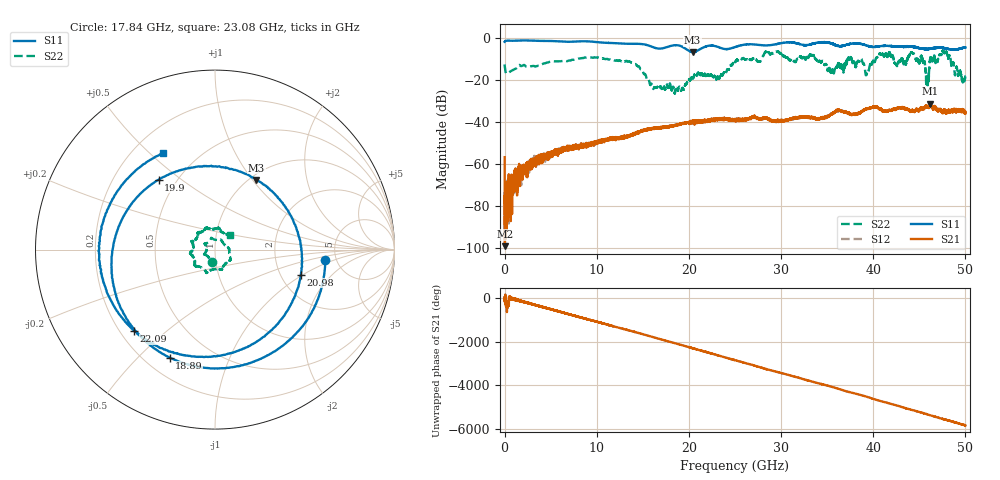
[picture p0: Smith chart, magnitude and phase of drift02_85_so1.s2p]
!Created with skrf (http://scikit-rf.org).
# Hz S RI R 50.0
!freq ReS11 ImS11 ReS21 ImS21 ReS12 ImS12 ReS22 ImS22
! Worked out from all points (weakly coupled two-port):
!   10001 points, 300 kHz to 50 GHz, reference 50 ohm
!   highest |S21| = -31.39 dB at 46.18 GHz (marker M1); lowest = -99.1 dB at 30.3 MHz (marker M2)
!   lowest |S11| = -6.9 dB at 20.4 GHz (marker M3), VSWR 2.65, Z = 53.5 + j52.2 ohm
!   |S11| at or under -10 dB: nowhere
!   |S22| runs from -26.6 to -6.1 dB; largest |S21 - S12| = 0.003
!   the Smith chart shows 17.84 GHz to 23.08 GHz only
!   S11 on the Smith chart (normalised r, x): 17.84 GHz: 4.07, -0.78; 18.89 GHz: 0.30, -0.62; 19.9 GHz: 0.40, +0.42; 20.98 GHz: 2.57, -0.96; 22.09 GHz: 0.26, -0.39; 23.08 GHz: 0.32, +0.55
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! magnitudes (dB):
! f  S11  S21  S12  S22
! 300 kHz  -2.1  -56.8  -73.5  -12.7
! 30.3 MHz  -1.8  -99.1  -76.2  -14.1
! 270.3 MHz  -1.4  -74.1  -81.5  -17.0
! 2.97 GHz  -1.4  -62.3  -58.5  -13.5
! 8.335 GHz  -1.7  -51.4  -52.4  -9.7
! 13.71 GHz  -2.9  -46.4  -46.1  -11.7
! 16.67 GHz  -5.2  -42.8  -42.9  -23.8
! 17.84 GHz  -4.2  -42.2  -42.3  -22.9
! 18.89 GHz  -3.7  -41.3  -41.4  -23.9
! 19.9 GHz  -6.0  -40.3  -40.3  -20.0
! 20.4 GHz  -6.9  -40.5  -39.6  -19.1
! 20.98 GHz  -6.1  -39.8  -40.1  -16.8
! 22.09 GHz  -3.9  -39.1  -39.2  -17.4
! 23.08 GHz  -4.3  -39.0  -38.6  -18.8
! 25 GHz  -4.5  -38.9  -39.1  -11.6
! 33.34 GHz  -3.0  -38.1  -38.0  -8.4
! 39.33 GHz  -3.8  -33.7  -33.6  -16.7
! 41.67 GHz  -3.9  -34.9  -34.7  -7.6
! 45.86 GHz  -5.4  -33.1  -33.0  -19.1
! 46.18 GHz  -5.2  -31.4  -31.9  -10.4
! 47.74 GHz  -5.0  -34.1  -35.1  -7.1
! 50 GHz  -4.7  -36.0  -35.8  -18.4
